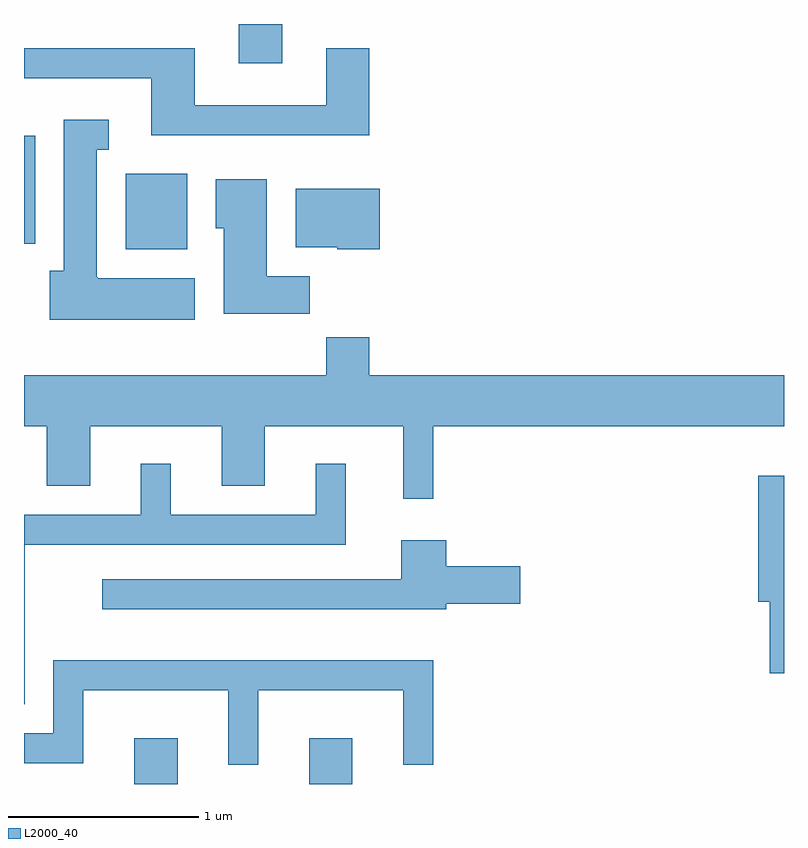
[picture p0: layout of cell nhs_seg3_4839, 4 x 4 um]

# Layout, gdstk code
import gdstk
lib = gdstk.Library(unit=1e-6, precision=1e-09)
def R(c, l, rs):  # rectangles x0, y0, x1, y1
    for r in rs: c.add(gdstk.rectangle(r[:2], r[2:], *l))
def P(c, l, *ps):  # polygons
    for p in ps: c.add(gdstk.Polygon(p, *l))
L2000_40 = (2000, 40)

nhs_seg3_4839 = lib.new_cell('nhs_seg3_4839')
R(nhs_seg3_4839, L2000_40, [(328.191,1141.892,328.419,1142.134), (329.111,1141.892,329.339,1142.134), (328.146,1144.706,328.469,1145.104), (327.611,1144.736,327.669,1145.304), (328.741,1145.686,328.969,1145.892)])
P(nhs_seg3_4839, L2000_40, [(329.429,1145.764),(329.201,1145.764),(329.201,1145.464),(328.509,1145.464),(328.509,1145.764),(327.611,1145.764),(327.611,1145.606),(328.281,1145.606),(328.281,1145.306),(329.429,1145.306)],
  [(328.509,1144.554),(328,1144.554),(328,1144.56),(327.994,1144.56),(327.994,1145.231),(328.058,1145.231),(328.058,1145.389),(327.821,1145.389),(327.821,1144.594),(327.746,1144.594),(327.746,1144.336),(328.509,1144.336)],
  [(329.114,1144.564),(328.889,1144.564),(328.889,1145.074),(328.621,1145.074),(328.621,1144.816),(328.661,1144.816),(328.661,1144.366),(329.114,1144.366)],
  [(329.484,1145.024),(329.041,1145.024),(329.041,1144.716),(329.26,1144.716),(329.26,1144.706),(329.484,1144.706)],
  [(329.764,1143.776),(331.611,1143.776),(331.611,1144.044),(329.429,1144.044),(329.429,1144.244),(329.201,1144.244),(329.201,1144.044),(327.611,1144.044),(327.611,1143.776),(327.731,1143.776),(327.731,1143.461),(327.959,1143.461),(327.959,1143.776),(328.651,1143.776),(328.651,1143.461),(328.879,1143.461),(328.879,1143.776),(329.606,1143.776),(329.606,1143.393),(329.764,1143.393)],
  [(327.614,1143.151),(329.304,1143.151),(329.304,1143.578),(329.146,1143.578),(329.146,1143.309),(328.384,1143.309),(328.384,1143.578),(328.226,1143.578),(328.226,1143.309),(327.611,1143.309),(327.611,1142.311),(327.614,1142.311)],
  [(331.611,1143.514),(331.476,1143.514),(331.476,1142.851),(331.536,1142.851),(331.536,1142.476),(331.611,1142.476)],
  [(329.834,1142.841),(330.224,1142.841),(330.224,1143.039),(329.834,1143.039),(329.834,1143.174),(329.596,1143.174),(329.596,1142.969),(328.023,1142.969),(328.023,1142.811),(329.834,1142.811)],
  [(328.844,1142.386),(329.606,1142.386),(329.606,1141.993),(329.764,1141.993),(329.764,1142.544),(327.766,1142.544),(327.766,1142.159),(327.611,1142.159),(327.611,1142.001),(327.924,1142.001),(327.924,1142.386),(328.686,1142.386),(328.686,1141.993),(328.844,1141.993)])

lib.write_gds('nhs_seg3_4839.gds')
